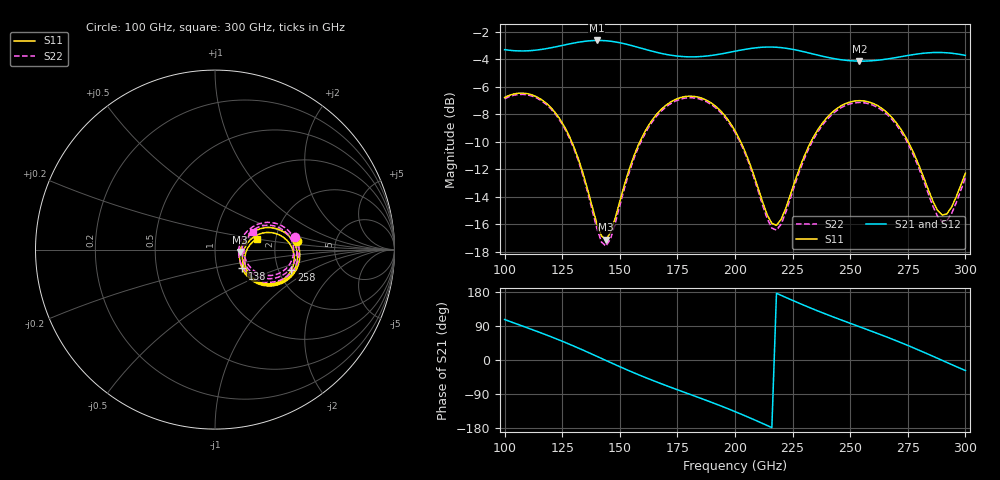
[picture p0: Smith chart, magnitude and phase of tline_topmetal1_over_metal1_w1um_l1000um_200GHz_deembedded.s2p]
! Created with skrf 2.0.1 (http://scikit-rf.org).
# GHz S DB R 50.0
!freq dBS11 angS11 dBS21 angS21 dBS12 angS12 dBS22 angS22
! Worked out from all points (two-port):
!   101 points, 100 GHz to 300 GHz, reference 50 ohm
!   highest |S21| = -2.65 dB at 140 GHz (marker M1); lowest = -4.1 dB at 254 GHz (marker M2)
!   |S21| within 3 dB of the highest: start of sweep to end of sweep
!   lowest |S11| = -17.1 dB at 144 GHz (marker M3), VSWR 1.32, Z = 66.1 - j1.71 ohm
!   |S11| at or under -10 dB: 129.1 GHz to 158.8 GHz (29.67 GHz wide, 20.6 % of centre); 202.4 GHz to 233 GHz (30.6 GHz wide, 14.1 % of centre); 275.1 GHz to end of sweep
!   |S22| runs from -17.6 to -6.6 dB; largest |S21 - S12| = 6e-16
!   S11 on the Smith chart (normalised r, x): 100 GHz: 2.65, +0.30; 138 GHz: 1.32, -0.29; 258 GHz: 2.35, -0.67; 300 GHz: 1.60, +0.21
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100  -6.79 5.7  -3.32 106.8  -3.32 106.8  -6.88 9.0
108  -6.48 -7.1  -3.41 89.1  -3.41 89.1  -6.56 -3.7
118  -7.20 -23.0  -3.24 66.4  -3.24 66.4  -7.29 -19.6
126  -8.92 -34.6  -2.97 47.0  -2.97 47.0  -9.03 -31.1
134  -12.29 -40.0  -2.72 26.2  -2.72 26.2  -12.46 -36.8
138  -14.72 -34.9  -2.66 15.3  -2.66 15.3  -14.98 -31.8
140  -15.94 -28.1  -2.65 9.8  -2.65 9.8  -16.29 -24.9
144  -17.12 -5.2  -2.67 -1.3  -2.67 -1.3  -17.60 -0.7
156  -11.10 24.8  -3.06 -33.4  -3.06 -33.4  -11.29 30.8
168  -7.65 11.4  -3.59 -62.6  -3.59 -62.6  -7.78 17.4
184  -6.76 -12.6  -3.83 -98.5  -3.83 -98.5  -6.88 -6.4
200  -9.21 -34.6  -3.43 -136.1  -3.43 -136.1  -9.33 -28.4
210  -13.36 -35.9  -3.16 -162.1  -3.16 -162.1  -13.56 -29.8
218  -16.08 -6.6  -3.14 176.1  -3.14 176.1  -16.44 0.4
234  -9.68 16.8  -3.63 134.3  -3.63 134.3  -9.85 25.0
244  -7.62 4.9  -3.99 110.5  -3.99 110.5  -7.76 13.2
254  -7.02 -9.3  -4.15 87.9  -4.15 87.9  -7.15 -0.9
258  -7.11 -15.0  -4.13 78.8  -4.13 78.8  -7.24 -6.7
268  -8.23 -28.5  -3.94 55.6  -3.94 55.6  -8.36 -20.2
280  -11.79 -36.6  -3.61 25.5  -3.61 25.5  -12.01 -28.5
290  -15.35 -13.0  -3.52 -1.2  -3.52 -1.2  -15.83 -4.2
300  -12.31 14.5  -3.73 -27.8  -3.73 -27.8  -12.64 25.3
